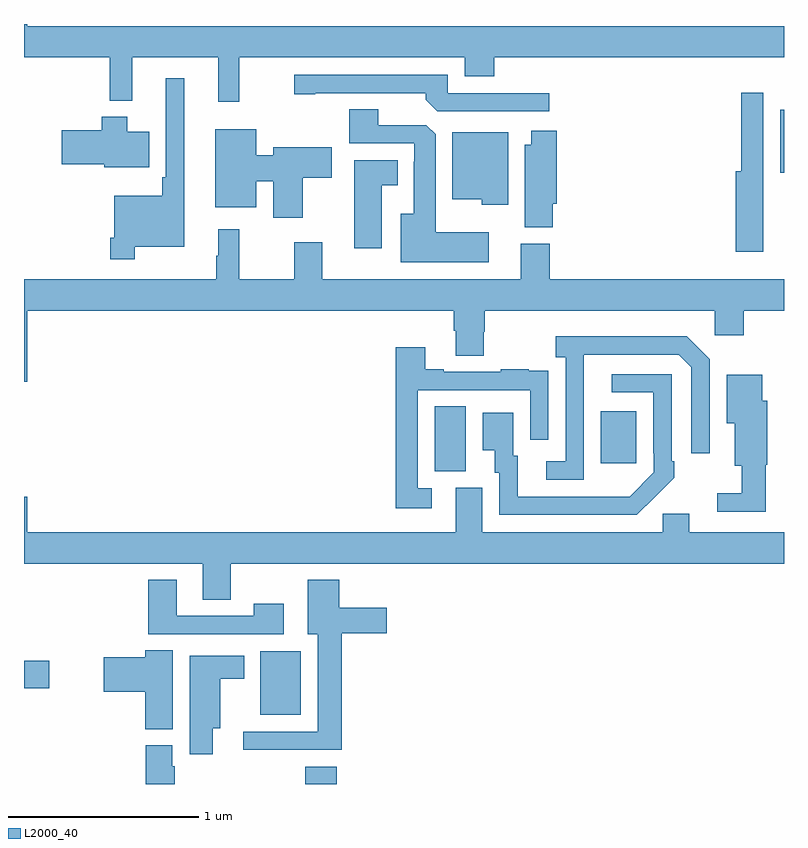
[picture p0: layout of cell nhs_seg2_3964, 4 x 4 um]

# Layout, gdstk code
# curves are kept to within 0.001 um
import gdstk
lib = gdstk.Library(unit=1e-6, precision=1e-09)
def R(c, l, rs):  # rectangles x0, y0, x1, y1
    for r in rs: c.add(gdstk.rectangle(r[:2], r[2:], *l))
def P(c, l, *ps):  # polygons
    for p in ps: c.add(gdstk.Polygon(p, *l))
L2000_40 = (2000, 40)

nhs_seg2_3964 = lib.new_cell('nhs_seg2_3964')
R(nhs_seg2_3964, L2000_40, [(322.481,655.8,322.646,655.891), (322.244,656.165,322.456,656.5), (321,656.303,321.133,656.45), (323.162,657.445,323.326,657.788), (324.035,657.489,324.223,657.763), (324.981,659.016,325,659.35)])
P(nhs_seg2_3964, L2000_40, [(322.132,659.624),(323.321,659.624),(323.321,659.525),(323.474,659.525),(323.474,659.624),(325,659.624),(325,659.788),(321.016,659.788),(321.016,659.8),(321,659.8),(321,659.624),(321.451,659.624),(321.451,659.396),(321.569,659.396),(321.569,659.624),(322.022,659.624),(322.022,659.391),(322.132,659.391)],
  [(323.764,659.436),(323.229,659.436),(323.229,659.532),(322.422,659.532),(322.422,659.431),(322.534,659.431),(322.534,659.436),(323.114,659.436),(323.114,659.402),(323.175,659.34),(323.764,659.34)],
  [(321.583,658.628),(321.844,658.628),(321.844,659.515),(321.747,659.515),(321.747,658.993),(321.727,658.993),(321.727,658.897),(321.474,658.897),(321.474,658.675),(321.454,658.675),(321.454,658.563),(321.583,658.563)],
  [(324.892,658.922),(324.891,658.922),(324.891,659.437),(324.775,659.437),(324.775,659.026),(324.746,659.026),(324.746,658.602),(324.892,658.602)],
  [(323.446,658.705),(323.167,658.705),(323.167,659.219),(323.118,659.268),(322.864,659.268),(322.864,659.351),(322.712,659.351),(322.712,659.172),(323.055,659.172),(323.055,659.075),(323.051,659.075),(323.051,658.801),(322.982,658.801),(322.982,658.547),(323.446,658.547)],
  [(321.658,659.233),(321.544,659.233),(321.544,659.311),(321.41,659.311),(321.41,659.241),(321.198,659.241),(321.198,659.063),(321.422,659.063),(321.422,659.045),(321.658,659.045)],
  [(322.468,658.99),(322.621,658.99),(322.621,659.152),(322.313,659.152),(322.313,659.108),(322.222,659.108),(322.222,659.245),(322.007,659.245),(322.007,658.835),(322.222,658.835),(322.222,658.972),(322.313,658.972),(322.313,658.779),(322.468,658.779)],
  [(323.783,658.854),(323.804,658.854),(323.804,659.239),(323.669,659.239),(323.669,659.164),(323.636,659.164),(323.636,658.729),(323.783,658.729)],
  [(323.548,659.23),(323.255,659.23),(323.255,658.877),(323.409,658.877),(323.409,658.85),(323.548,658.85)],
  [(322.882,658.952),(322.966,658.952),(322.966,659.083),(322.739,659.083),(322.739,658.62),(322.882,658.62)],
  [(321.016,658.292),(323.261,658.292),(323.261,658.186),(323.273,658.186),(323.273,658.054),(323.421,658.054),(323.421,658.179),(323.426,658.179),(323.426,658.292),(324.636,658.292),(324.636,658.161),(324.788,658.161),(324.788,658.292),(325,658.292),(325,658.456),(323.768,658.456),(323.768,658.644),(323.615,658.644),(323.615,658.456),(322.57,658.456),(322.57,658.651),(322.423,658.651),(322.423,658.456),(322.132,658.456),(322.132,658.72),(322.022,658.72),(322.022,658.58),(322.011,658.58),(322.011,658.456),(321,658.456),(321,657.918),(321.016,657.918)],
  [(323.946,657.859),(323.947,658.059),(324.447,658.059),(324.513,657.993),(324.513,657.54),(324.609,657.54),(324.609,658.035),(324.488,658.156),(323.799,658.156),(323.799,658.046),(323.85,658.046),(323.85,657.498),(323.748,657.498),(323.748,657.402),(323.946,657.402)],
  [(323.146,657.357),(323.073,657.357),(323.073,657.873),(323.664,657.873),(323.664,657.612),(323.76,657.612),(323.76,657.866),(323.759,657.866),(323.759,657.975),(323.657,657.975),(323.657,657.982),(323.509,657.982),(323.509,657.969),(323.209,657.969),(323.209,657.982),(323.113,657.982),(323.113,658.099),(322.957,658.099),(322.957,657.252),(323.146,657.252)],
  [(324.317,657.307),(324.318,657.306),(324.423,657.411),(324.423,657.499),(324.408,657.499),(324.408,657.957),(324.093,657.957),(324.093,657.861),(324.312,657.861),(324.312,657.541),(324.315,657.541),(324.315,657.441),(324.187,657.313),(323.599,657.312),(323.599,657.528),(323.575,657.528),(323.575,657.754),(323.414,657.754),(323.414,657.557),(323.477,657.557),(323.477,657.438),(323.502,657.438),(323.502,657.216),(324.226,657.216)],
  [(324.905,657.48),(324.911,657.48),(324.911,657.816),(324.886,657.816),(324.886,657.955),(324.698,657.955),(324.698,657.698),(324.74,657.698),(324.74,657.476),(324.777,657.476),(324.777,657.331),(324.648,657.331),(324.648,657.234),(324.905,657.234)],
  [(322.089,656.96),(325,656.96),(325,657.124),(324.502,657.124),(324.502,657.222),(324.363,657.222),(324.363,657.124),(323.413,657.124),(323.413,657.36),(323.273,657.36),(323.273,657.124),(321.016,657.124),(321.016,657.313),(321,657.313),(321,656.96),(321.941,656.96),(321.941,656.77),(322.089,656.77)],
  [(322.366,656.749),(322.21,656.749),(322.21,656.685),(321.805,656.685),(321.805,656.875),(321.653,656.875),(321.653,656.589),(322.366,656.589)],
  [(322.673,656.594),(322.909,656.594),(322.909,656.728),(322.66,656.728),(322.66,656.875),(322.493,656.875),(322.493,656.588),(322.547,656.588),(322.547,656.076),(322.155,656.076),(322.155,655.979),(322.673,655.979)],
  [(321.784,656.504),(321.638,656.504),(321.638,656.468),(321.42,656.468),(321.42,656.285),(321.638,656.285),(321.638,656.089),(321.784,656.089)],
  [(321.994,656.093),(322.033,656.093),(322.033,656.354),(322.159,656.354),(322.159,656.476),(321.872,656.476),(321.872,655.956),(321.994,655.956)],
  [(321.794,655.893),(321.781,655.893),(321.781,656.004),(321.641,656.004),(321.641,655.8),(321.794,655.8)])

lib.write_gds('nhs_seg2_3964.gds')
